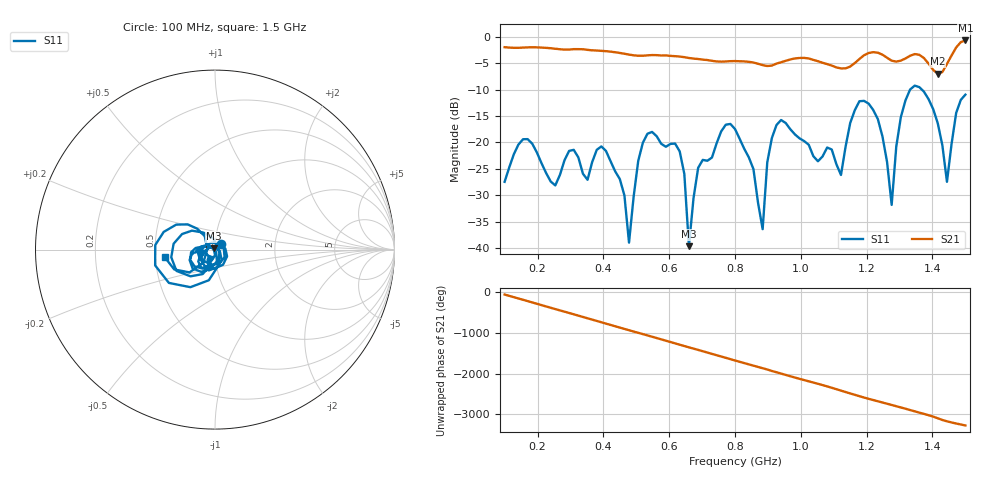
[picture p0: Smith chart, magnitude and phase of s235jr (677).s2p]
! NanoVNA-App
! Date: 2025-09-25 15:09:26
! Start: 100MHz Stop: 1,5GHz Points: 101
! S-Parameter data: F S11 S21 S12 S22
# Hz S RI R 50
!  Frequency  S11_Real  S11_Imag  S21_Real  S21_Imag  S12_Real  S12_Imag  S22_Real  S22_Imag
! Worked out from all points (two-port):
!   101 points, 100 MHz to 1.5 GHz, reference 50 ohm
!   highest |S21| = -0.69 dB at 1.5 GHz (marker M1); lowest = -7.0 dB at 1.416 GHz (marker M2)
!   |S21| within 3 dB of the highest: start of sweep to 622.6 MHz; 1.188 GHz to 1.255 GHz (67.14 MHz wide, 5.5 % of centre) (the widest 2 of 4)
!   lowest |S11| = -39.7 dB at 660 MHz (marker M3), VSWR 1.02, Z = 49.2 + j0.618 ohm
!   |S11| at or under -10 dB: start of sweep to 1.332 GHz; 1.368 GHz to end of sweep
!   S12 and S22 are empty: the file has one direction only
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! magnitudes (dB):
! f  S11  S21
! 100 MHz  -27.5  -2.0
! 156 MHz  -19.4  -2.0
! 338 MHz  -25.9  -2.4
! 408 MHz  -21.6  -2.7
! 478 MHz  -39.0  -3.4
! 520 MHz  -20.1  -3.6
! 576 MHz  -20.3  -3.5
! 632 MHz  -21.7  -3.7
! 660 MHz  -39.7  -4.0
! 688 MHz  -24.8  -4.2
! 800 MHz  -17.5  -4.6
! 884 MHz  -36.4  -5.4
! 898 MHz  -23.8  -5.5
! 926 MHz  -16.7  -5.1
! 1.038 GHz  -22.6  -4.4
! 1.122 GHz  -26.2  -6.0
! 1.206 GHz  -12.7  -3.1
! 1.276 GHz  -31.8  -4.5
! 1.332 GHz  -10.0  -3.6
! 1.416 GHz  -16.4  -7.0
! 1.444 GHz  -27.5  -5.1
! 1.5 GHz  -11.0  -0.7
